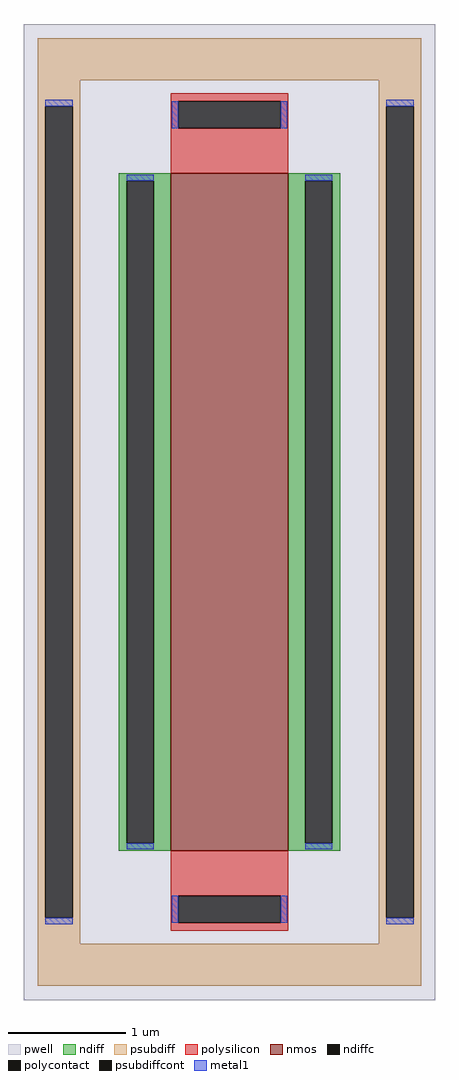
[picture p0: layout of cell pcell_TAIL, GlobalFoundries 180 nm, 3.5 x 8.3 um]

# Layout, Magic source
magic
tech gf180mcuD
magscale 1 10
<< pwell >>
rect -350 -830 350 830
<< nmos >>
rect -100 -576 100 576
<< ndiff >>
rect -188 563 -100 576
rect -188 -563 -175 563
rect -129 -563 -100 563
rect -188 -576 -100 -563
rect 100 563 188 576
rect 100 -563 129 563
rect 175 -563 188 563
rect 100 -576 188 -563
<< ndiffc >>
rect -175 -563 -129 563
rect 129 -563 175 563
<< psubdiff >>
rect -326 734 326 806
rect -326 690 -254 734
rect -326 -690 -313 690
rect -267 -690 -254 690
rect 254 690 326 734
rect -326 -734 -254 -690
rect 254 -690 267 690
rect 313 -690 326 690
rect 254 -734 326 -690
rect -326 -806 326 -734
<< psubdiffcont >>
rect -313 -690 -267 690
rect 267 -690 313 690
<< polysilicon >>
rect -100 699 100 712
rect -100 653 -87 699
rect 87 653 100 699
rect -100 576 100 653
rect -100 -653 100 -576
rect -100 -699 -87 -653
rect 87 -699 100 -653
rect -100 -712 100 -699
<< polycontact >>
rect -87 653 87 699
rect -87 -699 87 -653
<< metal1 >>
rect -313 690 -267 701
rect -98 653 -87 699
rect 87 653 98 699
rect 267 690 313 701
rect -175 563 -129 574
rect -175 -574 -129 -563
rect 129 563 175 574
rect 129 -574 175 -563
rect -313 -701 -267 -690
rect -98 -699 -87 -653
rect 87 -699 98 -653
rect 267 -701 313 -690
<< properties >>
string FIXED_BBOX -2900 -7700 2900 7700
<< end >>
